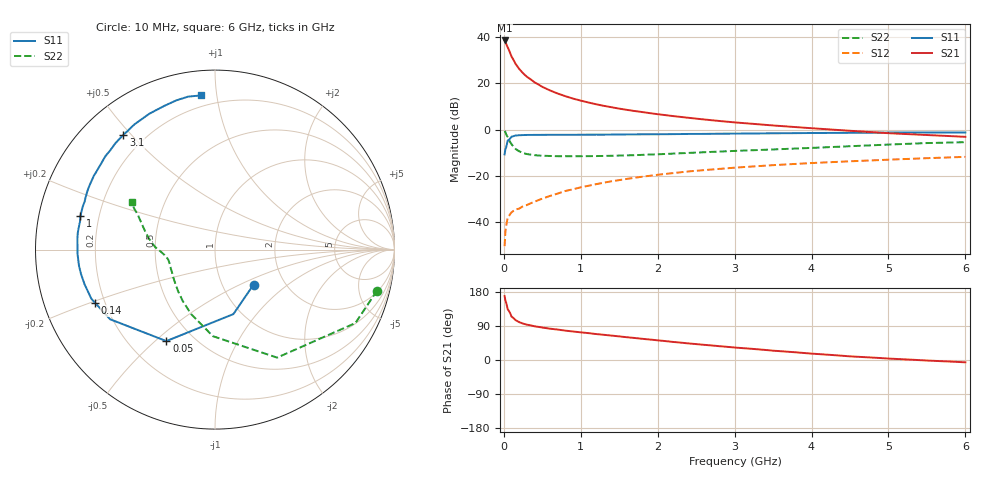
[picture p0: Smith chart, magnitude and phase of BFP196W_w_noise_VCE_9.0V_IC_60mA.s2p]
! Infineon Technologies  Discrete & RF Semiconductors
! BFP196W
! VCE =  9.0 V,  IC =  60 mA
! Common Emitter S-Parameters:  Jan 2017
# GHz  S  MA  R  50
!  f  S11  S21  S12  S22
! GHz  MAG  ANG  MAG  ANG  MAG  ANG  MAG  ANG
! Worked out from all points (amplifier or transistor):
!   77 points, 10 MHz to 6 GHz, reference 50 ohm
!   highest |S21| = 38.5 dB at 10 MHz (marker M1)
!   |S21| within 3 dB of that: start of sweep to 50.72 MHz
!   unconditionally stable (mu >= 1): 664.3 MHz to 3.215 GHz
!   at 130 MHz: K = 0.43, MSG = 32.5 dB, |S12| = -35.1 dB
!   at 2.2 GHz: K = 1.04, MAG = 11.1 dB, |S12| = -18.8 dB
!   at 6 GHz: K = 0.93, MSG = 4.3 dB, |S12| = -11.8 dB
!   lowest NFmin = 1.47 dB at 450 MHz
!   S11 on the Smith chart (normalised r, x): 10 MHz: 1.40, -0.60; 50 MHz: 0.36, -0.54; 140 MHz: 0.16, -0.21; 1 GHz: 0.13, +0.12; 3.1 GHz: 0.12, +0.47; 6 GHz: 0.13, +0.90
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0.01  0.2902 -42.2  84.41 168.7  0.003 80.5  0.9313 -14.2
0.02  0.3737 -74.1  79.58 157.5  0.0061 69.8  0.883 -27.6
0.05  0.5773 -118.0  60.12 133.8  0.0123 52.2  0.6942 -60.1
0.1  0.7017 -146.4  37.88 114.4  0.0162 43.8  0.4824 -91.4
0.14  0.7309 -156.0  28.9 107.8  0.0181 41.9  0.3991 -105.8
0.15  0.7412 -158.3  26.74 105.4  0.0186 41.5  0.3832 -110.3
0.2  0.752 -165.1  20.43 99.9  0.0195 44.5  0.3376 -122.3
0.25  0.7588 -169.7  16.51 96.0  0.022 46.3  0.3104 -131.3
0.3  0.7631 -173.1  13.82 93.2  0.0233 48.6  0.2949 -137.7
0.4  0.7661 -178.0  10.46 88.9  0.0275 53.3  0.2788 -146.6
0.5  0.7667 178.6  8.379 85.6  0.032 56.6  0.2707 -152.4
0.6  0.769 175.5  7.008 82.7  0.0366 58.2  0.268 -156.6
0.7  0.7702 173.1  6.003 80.3  0.0412 60.6  0.2649 -159.6
0.8  0.7688 170.4  5.259 77.5  0.0469 61.9  0.2647 -161.8
1  0.7723 166.1  4.218 73.0  0.0562 62.8  0.2649 -165.5
1.1  0.7736 163.9  3.84 70.9  0.0608 62.8  0.2656 -166.5
1.5  0.7808 156.2  2.83 62.3  0.0805 61.8  0.2729 -171.1
2.1  0.7924 144.9  2.048 49.9  0.1096 58.0  0.2962 -176.7
3.1  0.8173 128.7  1.384 31.4  0.1534 49.8  0.3495 174.6
4.1  0.8416 114.5  1.04 15.5  0.1917 41.5  0.4071 164.5
5.1  0.8597 103.7  0.818 2.8  0.226 33.5  0.4798 155.1
6  0.8625 95.3  0.695 -6.1  0.2563 26.6  0.5321 150.2
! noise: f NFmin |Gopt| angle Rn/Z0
0.45  1.47  0.52  -176  0.06
0.9  1.59  0.56  -170  0.07
1.9  2.42  0.69  -149  0.17
2.4  2.81  0.73  -144  0.27
